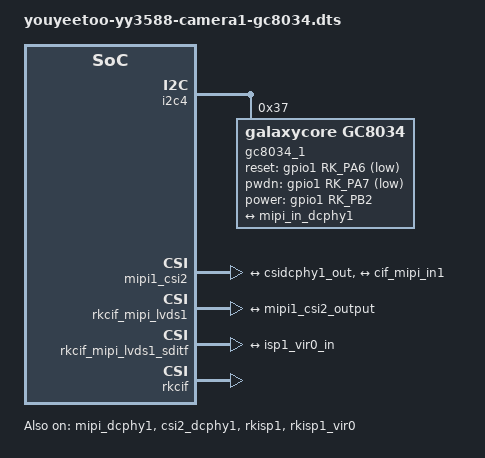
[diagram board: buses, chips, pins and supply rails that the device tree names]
/dts-v1/;
/plugin/;

#include <dt-bindings/clock/rk3588-cru.h>
#include <dt-bindings/gpio/gpio.h>
#include <dt-bindings/pinctrl/rockchip.h>
#include <dt-bindings/power/rk3588-power.h>

/ {
	metadata {
		title = "Enable GC8034 Camera 1 on Youyeetoo YY3588";
		compatible = "youyeetoo,yy3588";
		category = "camera";
		description = "Enable GC8034 8MP camera sensor on CSI1 (back camera)";
	};

	fragment@0 {
		target = <&i2c4>;

		__overlay__ {
			status = "okay";
			pinctrl-names = "default";
			pinctrl-0 = <&i2c4m3_xfer>;
			#address-cells = <1>;
			#size-cells = <0>;

			gc8034_1: gc8034@37 {
				status = "okay";
				compatible = "galaxycore,gc8034";
				reg = <0x37>;
				clocks = <&cru CLK_MIPI_CAMARAOUT_M2>;
				clock-names = "xvclk";
				power-domains = <&power RK3588_PD_VI>;
				pinctrl-names = "default";
				pinctrl-0 = <&mipim0_camera2_clk>;
				rockchip,grf = <&sys_grf>;
				reset-gpios = <&gpio1 RK_PA6 GPIO_ACTIVE_LOW>;
				pwdn-gpios = <&gpio1 RK_PA7 GPIO_ACTIVE_LOW>;
				power-gpios = <&gpio1 RK_PB2 GPIO_ACTIVE_HIGH>;

				rockchip,camera-module-index = <1>;
				rockchip,camera-module-facing = "back";
				rockchip,camera-module-name = "RK-CMK-8M-2-v1";
				rockchip,camera-module-lens-name = "CK8401";

				port {
					gc8034_1_out: endpoint {
						remote-endpoint = <&mipi_in_dcphy1>;
						data-lanes = <1 2 3 4>;
					};
				};
			};
		};
	};

	fragment@1 {
		target = <&mipi_dcphy1>;

		__overlay__ {
			status = "okay";
		};
	};

	fragment@2 {
		target = <&csi2_dcphy1>;

		__overlay__ {
			status = "okay";

			ports {
				#address-cells = <1>;
				#size-cells = <0>;

				port@0 {
					reg = <0>;
					#address-cells = <1>;
					#size-cells = <0>;

					mipi_in_dcphy1: endpoint@1 {
						reg = <1>;
						remote-endpoint = <&gc8034_1_out>;
						data-lanes = <1 2 3 4>;
					};
				};

				port@1 {
					reg = <1>;
					#address-cells = <1>;
					#size-cells = <0>;

					csidcphy1_out: endpoint@0 {
						reg = <0>;
						remote-endpoint = <&mipi1_csi2_input>;
					};
				};
			};
		};
	};

	fragment@3 {
		target = <&mipi1_csi2>;

		__overlay__ {
			status = "okay";

			ports {
				#address-cells = <1>;
				#size-cells = <0>;

				port@0 {
					reg = <0>;
					#address-cells = <1>;
					#size-cells = <0>;

					mipi1_csi2_input: endpoint@1 {
						reg = <1>;
						remote-endpoint = <&csidcphy1_out>;
					};
				};

				port@1 {
					reg = <1>;
					#address-cells = <1>;
					#size-cells = <0>;

					mipi1_csi2_output: endpoint@0 {
						reg = <0>;
						remote-endpoint = <&cif_mipi_in1>;
					};
				};
			};
		};
	};

	fragment@4 {
		target = <&rkcif_mipi_lvds1>;

		__overlay__ {
			status = "okay";

			port {
				cif_mipi_in1: endpoint {
					remote-endpoint = <&mipi1_csi2_output>;
				};
			};
		};
	};

	fragment@5 {
		target = <&rkcif_mipi_lvds1_sditf>;

		__overlay__ {
			status = "okay";

			port {
				mipi1_lvds_sditf: endpoint {
					remote-endpoint = <&isp1_vir0_in>;
				};
			};
		};
	};

	fragment@6 {
		target = <&rkcif>;

		__overlay__ {
			status = "okay";
		};
	};

	fragment@7 {
		target = <&rkcif_mmu>;

		__overlay__ {
			status = "okay";
		};
	};

	fragment@8 {
		target = <&rkisp1>;

		__overlay__ {
			status = "okay";
		};
	};

	fragment@9 {
		target = <&isp1_mmu>;

		__overlay__ {
			status = "okay";
		};
	};

	fragment@10 {
		target = <&rkisp1_vir0>;

		__overlay__ {
			status = "okay";

			port {
				#address-cells = <1>;
				#size-cells = <0>;

				isp1_vir0_in: endpoint@0 {
					reg = <0>;
					remote-endpoint = <&mipi1_lvds_sditf>;
				};
			};
		};
	};

	fragment@11 {
		target = <&pinctrl>;

		__overlay__ {
			camera {
				camera1_ctl: camera1-ctl {
					rockchip,pins =
						<1 RK_PA6 RK_FUNC_GPIO &pcfg_pull_none>,
						<1 RK_PA7 RK_FUNC_GPIO &pcfg_pull_none>,
						<1 RK_PB2 RK_FUNC_GPIO &pcfg_pull_none>;
				};
			};
		};
	};
};
